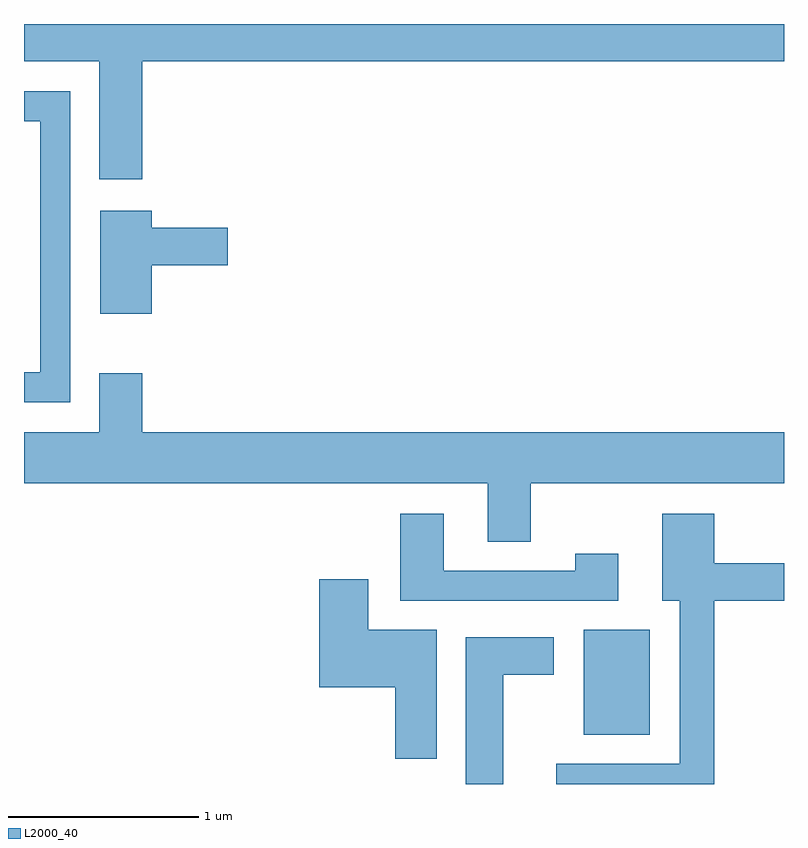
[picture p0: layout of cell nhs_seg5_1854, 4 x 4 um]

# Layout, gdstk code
import gdstk
lib = gdstk.Library(unit=1e-6, precision=1e-09)
def R(c, l, rs):  # rectangles x0, y0, x1, y1
    for r in rs: c.add(gdstk.rectangle(r[:2], r[2:], *l))
def P(c, l, *ps):  # polygons
    for p in ps: c.add(gdstk.Polygon(p, *l))
L2000_40 = (2000, 40)

nhs_seg5_1854 = lib.new_cell('nhs_seg5_1854')
R(nhs_seg5_1854, L2000_40, [(242.556,1484.331,242.904,1484.884)])
P(nhs_seg5_1854, L2000_40, [(240.234,1487.876),(243.611,1487.876),(243.611,1488.072),(239.611,1488.072),(239.611,1487.876),(240.006,1487.876),(240.006,1487.256),(240.234,1487.256)],
  [(239.854,1487.719),(239.611,1487.719),(239.611,1487.561),(239.696,1487.561),(239.696,1486.239),(239.611,1486.239),(239.611,1486.081),(239.854,1486.081)],
  [(240.284,1486.801),(240.684,1486.801),(240.684,1486.999),(240.284,1486.999),(240.284,1487.089),(240.011,1487.089),(240.011,1486.546),(240.284,1486.546)],
  [(240.234,1486.234),(240.006,1486.234),(240.006,1485.924),(239.611,1485.924),(239.611,1485.656),(242.051,1485.656),(242.051,1485.346),(242.279,1485.346),(242.279,1485.656),(243.611,1485.656),(243.611,1485.924),(240.234,1485.924)],
  [(243.244,1485.036),(243.611,1485.036),(243.611,1485.234),(243.244,1485.234),(243.244,1485.494),(242.971,1485.494),(242.971,1485.036),(243.061,1485.036),(243.061,1484.179),(242.413,1484.179),(242.413,1484.072),(243.244,1484.072)],
  [(242.739,1485.284),(242.511,1485.284),(242.511,1485.194),(241.819,1485.194),(241.819,1485.494),(241.591,1485.494),(241.591,1485.036),(242.739,1485.036)],
  [(241.784,1484.884),(241.424,1484.884),(241.424,1485.149),(241.166,1485.149),(241.166,1484.581),(241.566,1484.581),(241.566,1484.206),(241.784,1484.206)],
  [(242.134,1484.646),(242.399,1484.646),(242.399,1484.844),(241.936,1484.844),(241.936,1484.072),(242.134,1484.072)])

lib.write_gds('nhs_seg5_1854.gds')
